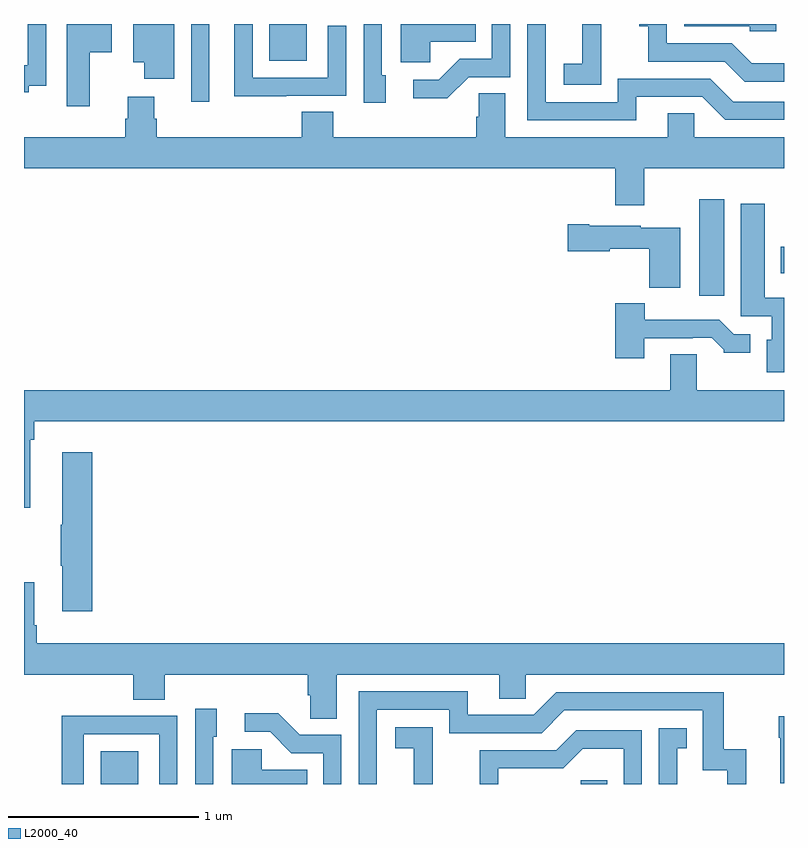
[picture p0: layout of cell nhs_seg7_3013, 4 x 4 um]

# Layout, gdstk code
import gdstk
lib = gdstk.Library(unit=1e-6, precision=1e-09)
def R(c, l, rs):  # rectangles x0, y0, x1, y1
    for r in rs: c.add(gdstk.rectangle(r[:2], r[2:], *l))
def P(c, l, *ps):  # polygons
    for p in ps: c.add(gdstk.Polygon(p, *l))
L2000_40 = (2000, 40)

nhs_seg7_3013 = lib.new_cell('nhs_seg7_3013')
R(nhs_seg7_3013, L2000_40, [(303.404,1040,303.601,1040.173), (305.931,1040,306.071,1040.019), (306.554,1042.569,306.685,1043.077), (306.983,1042.688,307,1042.828), (303.879,1043.592,303.976,1044), (304.292,1043.807,304.489,1044)])
P(nhs_seg7_3013, L2000_40, [(304.903,1043.73),(304.884,1043.73),(304.884,1044),(304.788,1044),(304.788,1043.586),(304.903,1043.586)],
  [(306.223,1043.616),(306.57,1043.616),(306.69,1043.496),(307,1043.496),(307,1043.592),(306.732,1043.592),(306.612,1043.712),(306.126,1043.712),(306.126,1043.589),(305.745,1043.589),(305.745,1044),(305.649,1044),(305.649,1043.493),(306.223,1043.493)],
  [(304.379,1043.622),(304.695,1043.622),(304.695,1043.992),(304.599,1043.992),(304.599,1043.718),(304.203,1043.718),(304.203,1044),(304.106,1044),(304.106,1043.621),(304.379,1043.621)],
  [(303.025,1043.676),(303.117,1043.676),(303.117,1044),(303.021,1044),(303.021,1043.782),(303,1043.782),(303,1043.642),(303.025,1043.642)],
  [(305.34,1043.721),(305.559,1043.721),(305.559,1044),(305.463,1044),(305.463,1043.817),(305.294,1043.817),(305.183,1043.706),(305.049,1043.706),(305.049,1043.609),(305.227,1043.609)],
  [(305.139,1043.906),(305.378,1043.906),(305.378,1044),(304.982,1044),(304.982,1043.798),(305.139,1043.798)],
  [(303.346,1043.851),(303.463,1043.851),(303.463,1043.998),(303.346,1043.998),(303.346,1044),(303.224,1044),(303.224,1043.568),(303.346,1043.568)],
  [(303.79,1044),(303.575,1044),(303.575,1043.798),(303.632,1043.798),(303.632,1043.712),(303.79,1043.712)],
  [(307,1043.794),(306.83,1043.794),(306.726,1043.898),(306.384,1043.898),(306.384,1044),(306.237,1044),(306.237,1043.987),(306.286,1043.987),(306.286,1043.802),(306.689,1043.802),(306.794,1043.697),(307,1043.697)],
  [(306.039,1043.887),(306.038,1043.887),(306.038,1044),(305.939,1044),(305.939,1043.791),(305.841,1043.791),(305.841,1043.681),(306.039,1043.681)],
  [(306.959,1044),(306.474,1044),(306.474,1043.988),(306.819,1043.988),(306.819,1043.961),(306.959,1043.961)],
  [(306.265,1043.24),(307,1043.24),(307,1043.404),(306.528,1043.404),(306.528,1043.531),(306.389,1043.531),(306.389,1043.404),(305.533,1043.404),(305.533,1043.636),(305.394,1043.636),(305.394,1043.513),(305.381,1043.513),(305.381,1043.404),(304.628,1043.404),(304.628,1043.537),(304.463,1043.537),(304.463,1043.404),(303.698,1043.404),(303.698,1043.502),(303.685,1043.502),(303.685,1043.617),(303.545,1043.617),(303.545,1043.502),(303.533,1043.502),(303.533,1043.404),(303,1043.404),(303,1043.24),(306.113,1043.24),(306.113,1043.046),(306.265,1043.046)],
  [(307,1042.558),(306.898,1042.558),(306.898,1043.053),(306.773,1043.053),(306.773,1042.461),(306.936,1042.461),(306.936,1042.338),(306.908,1042.338),(306.908,1042.166),(307,1042.166)],
  [(306.454,1042.927),(306.246,1042.927),(306.246,1042.939),(305.974,1042.939),(305.974,1042.947),(305.862,1042.947),(305.862,1042.805),(306.084,1042.805),(306.084,1042.817),(306.292,1042.817),(306.292,1042.613),(306.454,1042.613)],
  [(306.265,1042.347),(306.521,1042.347),(306.521,1042.35),(306.62,1042.35),(306.684,1042.286),(306.684,1042.271),(306.823,1042.271),(306.823,1042.368),(306.735,1042.368),(306.659,1042.444),(306.268,1042.444),(306.268,1042.531),(306.113,1042.531),(306.113,1042.242),(306.265,1042.242)],
  [(303.034,1041.812),(303.053,1041.812),(303.053,1041.908),(307,1041.908),(307,1042.072),(306.541,1042.072),(306.541,1042.262),(306.401,1042.262),(306.401,1042.072),(303,1042.072),(303,1041.453),(303.034,1041.453)],
  [(303.359,1041.745),(303.2,1041.745),(303.2,1041.365),(303.193,1041.365),(303.193,1041.148),(303.2,1041.148),(303.2,1040.91),(303.359,1040.91)],
  [(304.645,1040.576),(305.501,1040.576),(305.501,1040.449),(305.64,1040.449),(305.64,1040.576),(307,1040.576),(307,1040.74),(303.068,1040.74),(303.068,1040.836),(303.055,1040.836),(303.055,1041.061),(303,1041.061),(303,1040.576),(303.575,1040.576),(303.575,1040.443),(303.74,1040.443),(303.74,1040.576),(304.493,1040.576),(304.493,1040.467),(304.506,1040.467),(304.506,1040.344),(304.645,1040.344)],
  [(304.857,1040.391),(305.238,1040.391),(305.238,1040.268),(305.724,1040.268),(305.844,1040.388),(306.573,1040.388),(306.573,1040.073),(306.702,1040.073),(306.702,1040),(306.8,1040),(306.8,1040.182),(306.682,1040.182),(306.682,1040.484),(305.802,1040.484),(305.682,1040.364),(305.335,1040.364),(305.335,1040.487),(304.761,1040.487),(304.761,1040),(304.857,1040)],
  [(303.996,1040.25),(304.015,1040.25),(304.015,1040.395),(303.9,1040.395),(303.9,1040),(303.996,1040)],
  [(304.671,1040.259),(304.452,1040.259),(304.339,1040.372),(304.161,1040.372),(304.161,1040.274),(304.295,1040.274),(304.406,1040.163),(304.575,1040.163),(304.575,1040),(304.671,1040)],
  [(303.315,1040.262),(303.711,1040.262),(303.711,1040),(303.807,1040),(303.807,1040.358),(303.491,1040.358),(303.491,1040.36),(303.199,1040.36),(303.199,1040),(303.315,1040)],
  [(307,1040.356),(306.973,1040.356),(306.973,1040.243),(306.98,1040.243),(306.98,1040.003),(307,1040.003)],
  [(305.15,1040.093),(305.151,1040.093),(305.151,1040.299),(304.953,1040.299),(304.953,1040.189),(305.051,1040.189),(305.051,1040),(305.15,1040)],
  [(306.439,1040.187),(306.488,1040.187),(306.488,1040.293),(306.342,1040.293),(306.342,1040),(306.439,1040)],
  [(305.496,1040.082),(305.838,1040.082),(305.942,1040.186),(306.156,1040.186),(306.156,1040),(306.252,1040),(306.252,1040.283),(305.906,1040.283),(305.801,1040.178),(305.398,1040.178),(305.398,1040),(305.496,1040)],
  [(304.49,1040.074),(304.251,1040.074),(304.251,1040.182),(304.094,1040.182),(304.094,1040),(304.49,1040)])

lib.write_gds('nhs_seg7_3013.gds')
